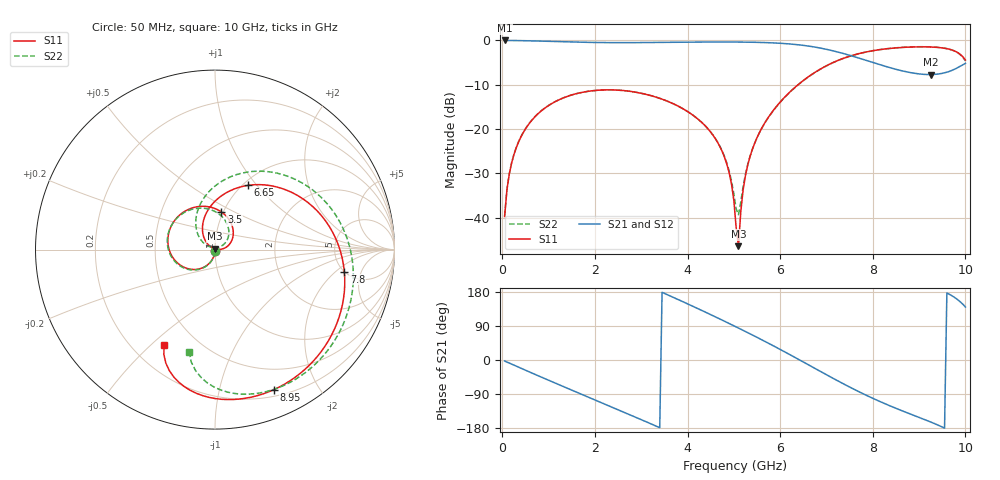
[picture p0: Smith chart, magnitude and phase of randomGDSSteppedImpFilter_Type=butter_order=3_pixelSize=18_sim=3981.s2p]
! freq	dB(S11)	phase(S11)	dB(S12)	phase(S12)
!  dB(S21)	phase(S21)	dB(S22)	phase(S22)
!S-par simulation data
#  GHz  S  DB  R 50
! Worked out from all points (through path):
!   200 points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, 50 MHz to 10 GHz, reference 50 ohm
!   highest |S21| = 0.00 dB at 50 MHz (marker M1); lowest = -7.7 dB at 9.25 GHz (marker M2)
!   group delay of S21, straight-line fit = 161 ps
!   lowest |S11| = -46.4 dB at 5.1 GHz (marker M3), VSWR 1.01, Z = 49.9 + j0.472 ohm
!   |S11| at or under -10 dB: start of sweep to 6.384 GHz
!   |S22| runs from -39.6 to -1.4 dB; largest |S21 - S12| = 0
!   S11 on the Smith chart (normalised r, x): 50 MHz: 1.00, -0.02; 3.5 GHz: 0.98, +0.43; 6.65 GHz: 1.06, +0.90; 7.8 GHz: 5.00, -2.63; 8.95 GHz: 0.27, -1.47; 10 GHz: 0.33, -0.55
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0.05  -39.71 -92.5  -0.00 -2.7  -0.00 -2.7  -39.62 -92.4
0.2  -27.71 -101.0  -0.01 -10.8  -0.01 -10.8  -27.62 -100.8
0.5  -19.96 -117.7  -0.06 -27.0  -0.06 -27.0  -19.89 -117.0
1.75  -11.65 175.2  -0.41 -92.3  -0.41 -92.3  -11.65 178.6
2.5  -11.20 135.5  -0.50 -131.0  -0.50 -131.0  -11.20 141.1
3.4  -13.05 86.1  -0.44 -178.7  -0.44 -178.7  -13.06 95.6
3.5  -13.43 80.5  -0.43 175.9  -0.43 175.9  -13.43 90.5
4.65  -23.00 14.5  -0.35 111.0  -0.35 111.0  -22.93 34.1
4.9  -29.88 3.1  -0.35 96.3  -0.35 96.3  -29.47 29.8
5.05  -42.21 17.9  -0.36 87.4  -0.36 87.4  -37.97 60.0
5.1  -46.39 99.7  -0.36 84.4  -0.36 84.4  -39.29 99.6
5.2  -33.72 146.0  -0.37 78.3  -0.37 78.3  -32.97 145.8
5.45  -23.16 138.2  -0.41 62.9  -0.41 62.9  -23.17 150.4
6.1  -12.76 98.6  -0.70 21.4  -0.70 21.4  -12.82 115.9
6.65  -7.89 62.7  -1.33 -15.3  -1.33 -15.3  -7.94 80.7
6.7  -7.54 59.4  -1.41 -18.7  -1.41 -18.7  -7.58 77.4
7.25  -4.50 23.6  -2.62 -55.4  -2.62 -55.4  -4.52 41.2
7.8  -2.72 -9.7  -4.30 -89.6  -4.30 -89.6  -2.73 7.3
8.35  -1.82 -39.0  -6.07 -119.9  -6.07 -119.9  -1.81 -22.6
8.95  -1.45 -67.2  -7.48 -149.2  -7.48 -149.2  -1.42 -51.4
9.25  -1.48 -80.7  -7.69 -163.6  -7.69 -163.6  -1.44 -65.2
10  -4.42 -118.1  -5.17 139.9  -5.17 139.9  -4.59 -104.2
